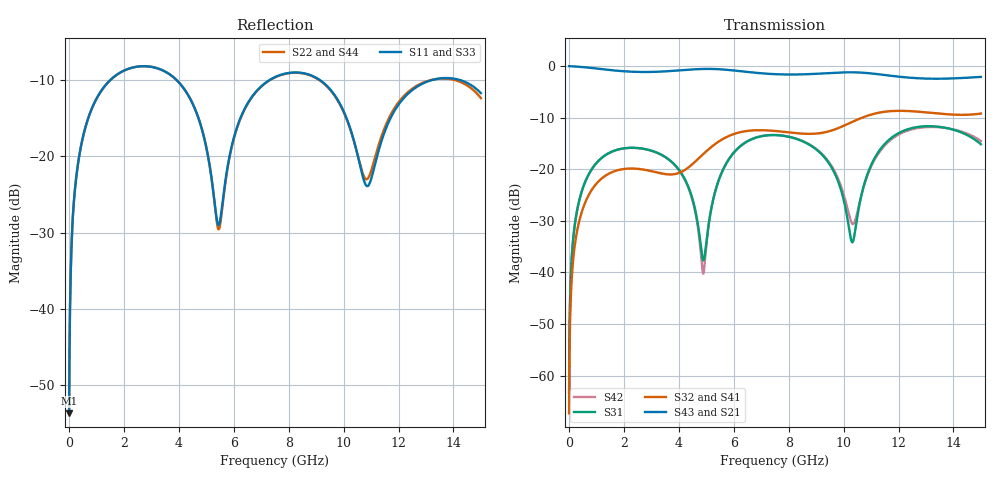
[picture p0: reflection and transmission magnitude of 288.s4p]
! Created with skrf 1.8.0 (http://scikit-rf.org).
# GHz S RI R 50.0
!freq ReS11 ImS11 ReS12 ImS12 ReS13 ImS13
! ReS14 ImS14
! ReS21 ImS21 ReS22 ImS22 ReS23 ImS23
! ReS24 ImS24
! ReS31 ImS31 ReS32 ImS32 ReS33 ImS33
! ReS34 ImS34
! ReS41 ImS41 ReS42 ImS42 ReS43 ImS43
! ReS44 ImS44
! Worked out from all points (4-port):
!   2499 points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, 5 MHz to 15 GHz, reference 50 ohm
!   strongest paths, dB at 5 MHz, 3.476 GHz, 7.19 GHz, 11.1 GHz, 15 GHz:
!     S43: 0.0, -1.0, -1.5, -1.5, -2.1
!     S21: 0.0, -1.0, -1.5, -1.5, -2.1
!     S32: -67.3, -20.9, -12.5, -9.3, -9.2
!     S41: -67.3, -20.9, -12.5, -9.2, -9.2
!     S31: -63.2, -17.5, -13.4, -18.2, -15.1
!     S42: -63.2, -17.6, -13.4, -18.5, -14.5
!   lowest |S11| = -53.7 dB at 5 MHz (marker M1), VSWR 1.00, Z = 50.2 + j0.125 ohm
!   |S11| at or under -10 dB: start of sweep to 1.497 GHz; 3.926 GHz to 7.291 GHz (3.365 GHz wide, 60 % of centre); 9.149 GHz to 13.19 GHz (4.043 GHz wide, 36.2 % of centre) (the widest 3 of 4)
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0.005  0.00165 0.00125  0.9983 -0.0032  8.38e-05 0.000683  -8.12e-05 -0.000423
       0.9983 -0.0032  0.00165 0.00125  -8.12e-05 -0.000423  8.37e-05 0.000683
       8.38e-05 0.000683  -8.12e-05 -0.000423  0.00165 0.00125  0.9983 -0.0032
       -8.12e-05 -0.000423  8.37e-05 0.000683  0.9983 -0.0032  0.00165 0.00125
0.3126303  0.0242 0.082  0.9669 -0.1993  0.0116 0.0405  -0.00957 -0.0248
           0.9669 -0.1993  0.0242 0.082  -0.00958 -0.0248  0.0115 0.0405
           0.0116 0.0405  -0.00958 -0.0248  0.0242 0.082  0.9669 -0.1993
           -0.00957 -0.0248  0.0115 0.0405  0.9669 -0.1993  0.0242 0.082
1.469362  0.254 0.1824  0.582 -0.709  0.1271 0.0683  -0.0904 -0.0117
          0.582 -0.709  0.2542 0.1822  -0.0904 -0.0117  0.1264 0.0692
          0.1271 0.0683  -0.0904 -0.0117  0.2539 0.1824  0.5821 -0.7089
          -0.0904 -0.0117  0.1264 0.0692  0.5821 -0.7089  0.2542 0.1822
5.283451  0.0366 -0.039  -0.9238 -0.1565  -0.00924 0.0544  -0.0266 0.1704
          -0.9238 -0.1565  0.0346 -0.04  -0.0261 0.1705  -0.00618 0.0552
          -0.00924 0.0544  -0.0261 0.1705  0.0356 -0.0393  -0.9238 -0.1567
          -0.0266 0.1704  -0.00618 0.0552  -0.9238 -0.1567  0.0356 -0.0399
8.541059  0.3472 -0.0573  0.0311 0.8306  0.1636 -0.0866  0.205 -0.0789
          0.0311 0.8306  0.3461 -0.0534  0.2057 -0.0814  0.1628 -0.0905
          0.1636 -0.0866  0.2057 -0.0814  0.345 -0.0521  0.0308 0.8314
          0.205 -0.0789  0.1628 -0.0905  0.0308 0.8314  0.3441 -0.058
11.17341  0.0798 0.0475  0.8396 0.00342  0.046 0.126  -0.0167 -0.3486
          0.8396 0.00342  0.0888 0.0512  -0.0213 -0.3476  0.0346 0.125
          0.046 0.126  -0.0213 -0.3476  0.0862 0.0495  0.8396 0.00371
          -0.0167 -0.3486  0.0346 0.125  0.8396 0.00371  0.0819 0.0542
15  0.2117 -0.1516  -0.3404 -0.7065  0.1157 -0.1313  -0.2827 0.1982
    -0.3404 -0.7065  0.1929 -0.1456  -0.2809 0.2036  0.0865 -0.1674
    0.1157 -0.1313  -0.2809 0.2036  0.2091 -0.1438  -0.3401 -0.7083
    -0.2827 0.1982  0.0865 -0.1674  -0.3401 -0.7083  0.1863 -0.1476
